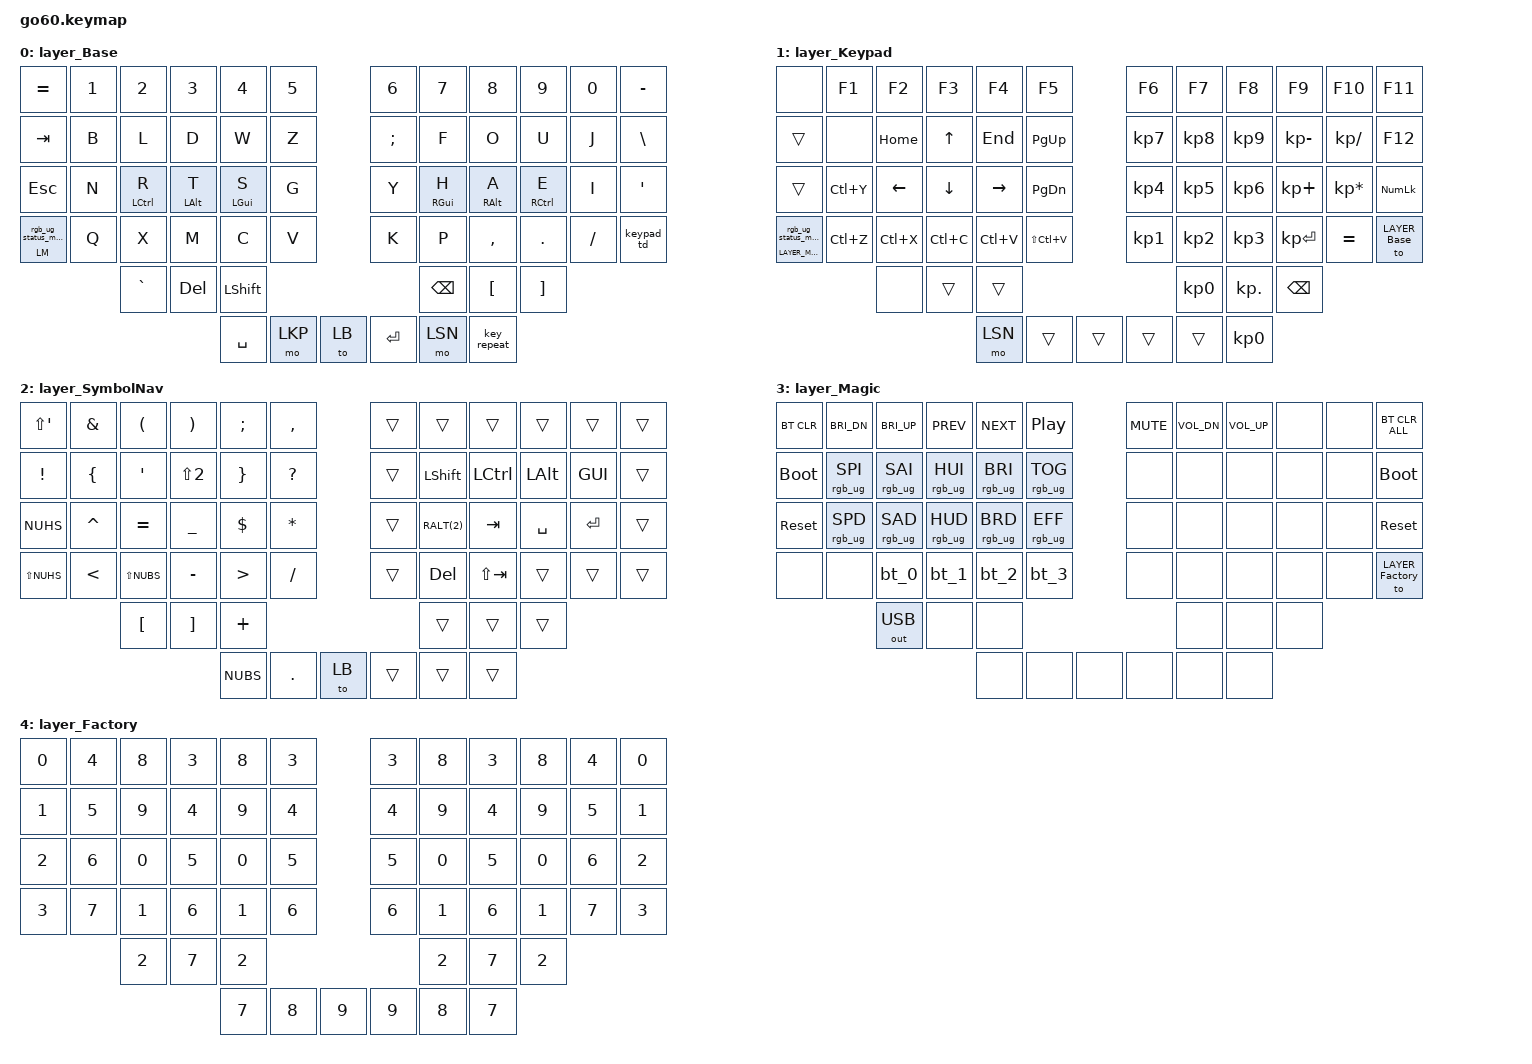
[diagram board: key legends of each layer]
/*
 * Copyright (c) 2020 The ZMK Contributors
 *
 * SPDX-License-Identifier: MIT
 */

#include <behaviors.dtsi>

#include <dt-bindings/zmk/bt.h>
#include <dt-bindings/zmk/ext_power.h>
#include <dt-bindings/zmk/keys.h>
#include <dt-bindings/zmk/outputs.h>
#include <dt-bindings/zmk/rgb.h>
#include <dt-bindings/zmk/input_transform.h>
#include <dt-bindings/zmk/pointing.h>

#include <input/processors.dtsi>
#include <zephyr/dt-bindings/input/input-event-codes.h>

#include "includes/macros.dtsi"

// layers
#define LAYER_Base 0
#define LAYER_Keypad 1
#define LAYER_SymbolNav 2
#define LAYER_Magic 3
#define LAYER_Factory 4

#define LB 0
#define LKP 1
#define LSN 2
#define LM 3
#define LF 4

/ {
    input_processors {
        zip_click_to_right_click_mapper: zip_click_to_right_click_mapper {
            compatible = "zmk,input-processor-code-mapper";
            #input-processor-cells = <0>;
            type = <INPUT_EV_KEY>;
            map = <INPUT_BTN_0 INPUT_BTN_1>;
        };
    };

    behaviors {

        ZMK_HOMEROW_BINDINGS(hm, &kp, &kp)

        magic: magic {
            compatible = "zmk,behavior-hold-tap";
            #binding-cells = <2>;
            flavor = "tap-preferred";
            tapping-term-ms = <200>;
            bindings = <&mo>, <&rgb_ug_status_macro>;
        };

        keypad_td: keypad_td {
            compatible = "zmk,behavior-tap-dance";
            #binding-cells = <0>;
            tapping-term-ms = <200>;
            bindings = <&mo LAYER_Keypad>, <&to LAYER_Keypad>;
        };

        symbol_nav_td: symbol_nav_td {
            compatible = "zmk,behavior-tap-dance";
            #binding-cells = <0>;
            tapping-term-ms = <200>;
            bindings = <&mo LAYER_SymbolNav>, <&to LAYER_SymbolNav>;
        };

        bt_0: bt_0 {
            compatible = "zmk,behavior-tap-dance";
            #binding-cells = <0>;
            tapping-term-ms = <200>;
            bindings = <&bt_select_0>, <&bt BT_DISC 0>;
        };
        bt_1: bt_1 {
            compatible = "zmk,behavior-tap-dance";
            #binding-cells = <0>;
            tapping-term-ms = <200>;
            bindings = <&bt_select_1>, <&bt BT_DISC 1>;
        };
        bt_2: bt_2 {
            compatible = "zmk,behavior-tap-dance";
            #binding-cells = <0>;
            tapping-term-ms = <200>;
            bindings = <&bt_select_2>, <&bt BT_DISC 2>;
        };
        bt_3: bt_3 {
            compatible = "zmk,behavior-tap-dance";
            #binding-cells = <0>;
            tapping-term-ms = <200>;
            bindings = <&bt_select_3>, <&bt BT_DISC 3>;
        };
    };

    macros {
        rgb_ug_status_macro: rgb_ug_status_macro {
            compatible = "zmk,behavior-macro";
            #binding-cells = <0>;
            bindings = <&rgb_ug RGB_STATUS>;
        };

        bt_select_0: bt_select_0 {
            compatible = "zmk,behavior-macro";
            #binding-cells = <0>;
            bindings
                = <&out OUT_BLE>,
                  <&bt BT_SEL 0>;
        };
        bt_select_1: bt_select_1 {
            compatible = "zmk,behavior-macro";
            #binding-cells = <0>;
            bindings
                = <&out OUT_BLE>,
                  <&bt BT_SEL 1>;
        };
        bt_select_2: bt_select_2 {
            compatible = "zmk,behavior-macro";
            #binding-cells = <0>;
            bindings
                = <&out OUT_BLE>,
                  <&bt BT_SEL 2>;
        };
        bt_select_3: bt_select_3 {
            compatible = "zmk,behavior-macro";
            #binding-cells = <0>;
            bindings
                = <&out OUT_BLE>,
                  <&bt BT_SEL 3>;
        };
    };

    keymap {
        compatible = "zmk,keymap";
        layer_Base { /* CONFIGURED */
            bindings = <
            &kp EQUAL &kp N1  &kp N2        &kp N3       &kp N4      &kp N5                     &kp N6      &kp N7      &kp N8      &kp N9      &kp N0    &kp MINUS
            &kp TAB   &kp B   &kp L         &kp D        &kp W       &kp Z                      &kp SEMI    &kp F       &kp O       &kp U       &kp J     &kp BSLH
            &kp ESC   &kp N   &hm LCTRL R   &hm LALT T   &hm LGUI S  &kp G                      &kp Y       &hm RGUI H  &hm RALT A  &hm RCTRL E &kp I     &kp SQT
          &magic LM 0 &kp Q   &kp X         &kp M        &kp C       &kp V                      &kp K       &kp P       &kp COMMA   &kp DOT     &kp FSLH  &keypad_td
                              &kp GRAVE     &kp DEL      &kp LSHFT                                          &kp BSPC    &kp LBKT    &kp RBKT
                                                    &kp SPACE  &mo LKP  &to LB              &kp RET  &mo LSN  &key_repeat 
            >;
        };

        layer_Keypad { /* TODO: configure this */
            bindings = <
                &none     &kp F1     &kp F2     &kp F3     &kp F4         &kp F5                                                 &kp F6     &kp F7      &kp F8        &kp F9          &kp F10        &kp F11
               &trans      &none   &kp HOME     &kp UP    &kp END      &kp PG_UP                                              &kp KP_N7  &kp KP_N8   &kp KP_N9  &kp KP_MINUS     &kp KP_SLASH        &kp F12
               &trans  &kp LC(Y)   &kp LEFT   &kp DOWN  &kp RIGHT      &kp PG_DN                                              &kp KP_N4  &kp KP_N5   &kp KP_N6   &kp KP_PLUS  &kp KP_MULTIPLY     &kp KP_NUM
 &magic LAYER_Magic 0  &kp LC(Z)  &kp LC(X)  &kp LC(C)  &kp LC(V)  &kp LS(LC(V))                                              &kp KP_N1  &kp KP_N2   &kp KP_N3  &kp KP_ENTER        &kp EQUAL &to LAYER_Base
                                      &none     &trans     &trans                                                                        &kp KP_N0  &kp KP_DOT      &kp BSPC
                                                             &mo LSN  &trans  &trans              &trans  &trans  &kp KP_N0
            >;
        };

        layer_SymbolNav { /* CONFIGURED */
            bindings = <
                /*  @           &               (               )           ;             ,     */ 
                &kp LS(SQT)     &kp AMPS    &kp LPAR        &kp RPAR    &kp SEMI    &kp COMMA                       &trans  &trans      &trans      &trans      &trans  &trans
                /*  !               {           '               "           }           ?       */
                &kp EXCL        &kp LBRC    &kp SQT         &kp LS(N2)  &kp RBRC    &kp QMARK                       &trans  &kp LSHFT   &kp LCTRL   &kp LALT    &kp GUI &trans
                /*  #               ^           =               _           $           *       */
                &kp NUHS        &kp CARET   &kp EQUAL       &kp UNDER   &kp DLLR    &kp STAR                        &trans  &kp RALT(2) &kp TAB    &kp SPACE   &kp RET &trans
                /*  ~               <           |               -           >           /       */
                &kp LS(NUHS)    &kp LT      &kp LS(NUBS)    &kp MINUS   &kp GT      &kp FSLH                        &trans  &kp DEL     &kp LS(TAB) &trans      &trans  &trans
                                            /*  [           ]           +                       */
                                            &kp LBKT        &kp RBKT    &kp PLUS                                            &trans      &trans      &trans
                                                                        /*  \           .*/
                                                                        &kp NUBS    &kp DOT     &to LB          &trans  &trans  &trans
            >;
        };

        layer_Magic {
            bindings = <
  &bt BT_CLR     &kp C_BRI_DN     &kp C_BRI_UP       &kp C_PREV       &kp C_NEXT         &kp C_PP                                &kp C_MUTE  &kp C_VOL_DN  &kp C_VOL_UP   &none   &none    &bt BT_CLR_ALL
 &bootloader  &rgb_ug RGB_SPI  &rgb_ug RGB_SAI  &rgb_ug RGB_HUI  &rgb_ug RGB_BRI  &rgb_ug RGB_TOG                                     &none         &none         &none   &none   &none       &bootloader
  &sys_reset  &rgb_ug RGB_SPD  &rgb_ug RGB_SAD  &rgb_ug RGB_HUD  &rgb_ug RGB_BRD  &rgb_ug RGB_EFF                                     &none         &none         &none   &none   &none        &sys_reset
       &none            &none            &bt_0            &bt_1            &bt_2            &bt_3                                     &none         &none         &none   &none   &none &to LAYER_Factory
                                  &out OUT_USB            &none            &none                                                                    &none         &none   &none
                                                                                            &none   &none   &none     &none   &none   &none
            >;
        };

        layer_Factory {
            bindings = <
 &kp N0  &kp N4  &kp N8  &kp N3  &kp N8  &kp N3                                       &kp N3  &kp N8  &kp N3  &kp N8  &kp N4  &kp N0
 &kp N1  &kp N5  &kp N9  &kp N4  &kp N9  &kp N4                                       &kp N4  &kp N9  &kp N4  &kp N9  &kp N5  &kp N1
 &kp N2  &kp N6  &kp N0  &kp N5  &kp N0  &kp N5                                       &kp N5  &kp N0  &kp N5  &kp N0  &kp N6  &kp N2
 &kp N3  &kp N7  &kp N1  &kp N6  &kp N1  &kp N6                                       &kp N6  &kp N1  &kp N6  &kp N1  &kp N7  &kp N3
                 &kp N2  &kp N7  &kp N2                                                       &kp N2  &kp N7  &kp N2
                                          &kp N7  &kp N8  &kp N9      &kp N9  &kp N8  &kp N7
            >;
        };
    };
};

&cirque_rh_listener {
    input-processors = <&zip_xy_scaler 3 1>;
    layer_1 {
        layers = <1>;
        input-processors = <&zip_xy_scaler 9 1>;
    };
};

&cirque_lh_listener {
    input-processors = <&zip_xy_to_scroll_mapper>, <&zip_xy_scaler 1 8>, <&zip_click_to_right_click_mapper>;
    layer_4 {
        layers = <4>;
        input-processors = <&zip_xy_scaler 3 1>;
    };
};
